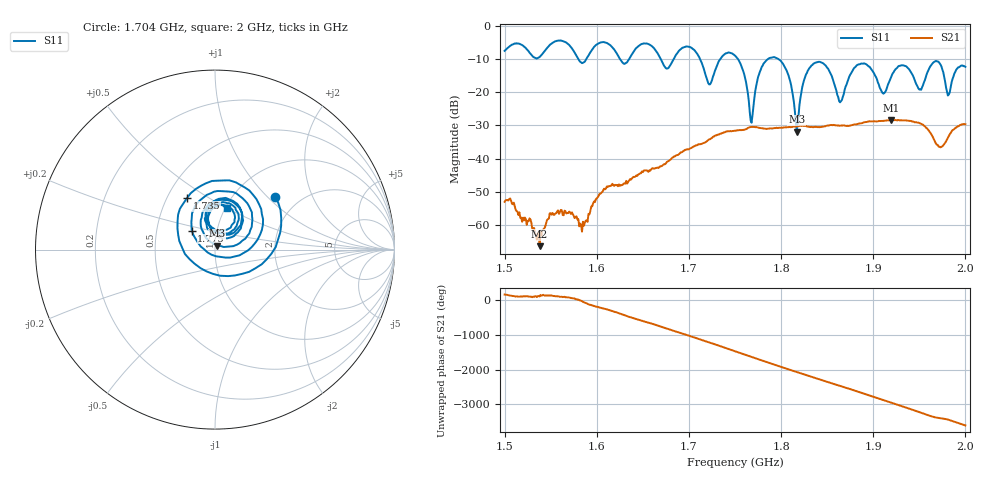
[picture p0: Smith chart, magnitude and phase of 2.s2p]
! NanoVNA-App by SYSJOINT et al v1.1.209 (+OD18)
! Date: 2026-01-21 14:51:57
! Start: 1,5GHz Stop: 2GHz Points: 501
! S-Parameter data: F S11 S21 S12 S22
# Hz S RI R 50
!  Frequency  S11_Real  S11_Imag  S21_Real  S21_Imag  S12_Real  S12_Imag  S22_Real  S22_Imag
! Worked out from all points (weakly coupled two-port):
!   501 points, 1.5 GHz to 2 GHz, reference 50 ohm
!   highest |S21| = -28.37 dB at 1.919 GHz (marker M1); lowest = -66.3 dB at 1.538 GHz (marker M2)
!   lowest |S11| = -31.9 dB at 1.817 GHz (marker M3), VSWR 1.05, Z = 51.2 + j2.3 ohm
!   |S11| at or under -10 dB: 1.712 GHz to 1.734 GHz (22.32 MHz wide, 1.3 % of centre); 1.753 GHz to 1.786 GHz (33.08 MHz wide, 1.87 % of centre); 1.797 GHz to end of sweep (the widest 3 of 6)
!   S12 and S22 are empty: the file has one direction only
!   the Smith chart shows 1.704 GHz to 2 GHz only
!   S11 on the Smith chart (normalised r, x): 1.704 GHz: 1.52, +1.12; 1.735 GHz: 0.63, +0.41; 1.775 GHz: 0.75, +0.17; 2 GHz: 1.02, +0.50
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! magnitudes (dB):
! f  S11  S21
! 1.5 GHz  -7.6  -53.0
! 1.538 GHz  -9.5  -66.3
! 1.56 GHz  -4.5  -56.0
! 1.584 GHz  -11.3  -61.9
! 1.609 GHz  -5.1  -49.2
! 1.667 GHz  -8.8  -42.8
! 1.704 GHz  -7.0  -36.6
! 1.722 GHz  -17.7  -34.2
! 1.735 GHz  -9.7  -32.5
! 1.75 GHz  -9.1  -31.6
! 1.768 GHz  -29.2  -30.5
! 1.775 GHz  -15.5  -30.6
! 1.8 GHz  -10.7  -30.7
! 1.817 GHz  -31.9  -30.3
! 1.834 GHz  -11.8  -30.5
! 1.864 GHz  -23.1  -30.1
! 1.885 GHz  -11.6  -29.4
! 1.917 GHz  -17.1  -28.5
! 1.919 GHz  -15.8  -28.4
! 1.973 GHz  -11.7  -36.6
! 1.981 GHz  -21.0  -33.6
! 2 GHz  -12.4  -29.7
